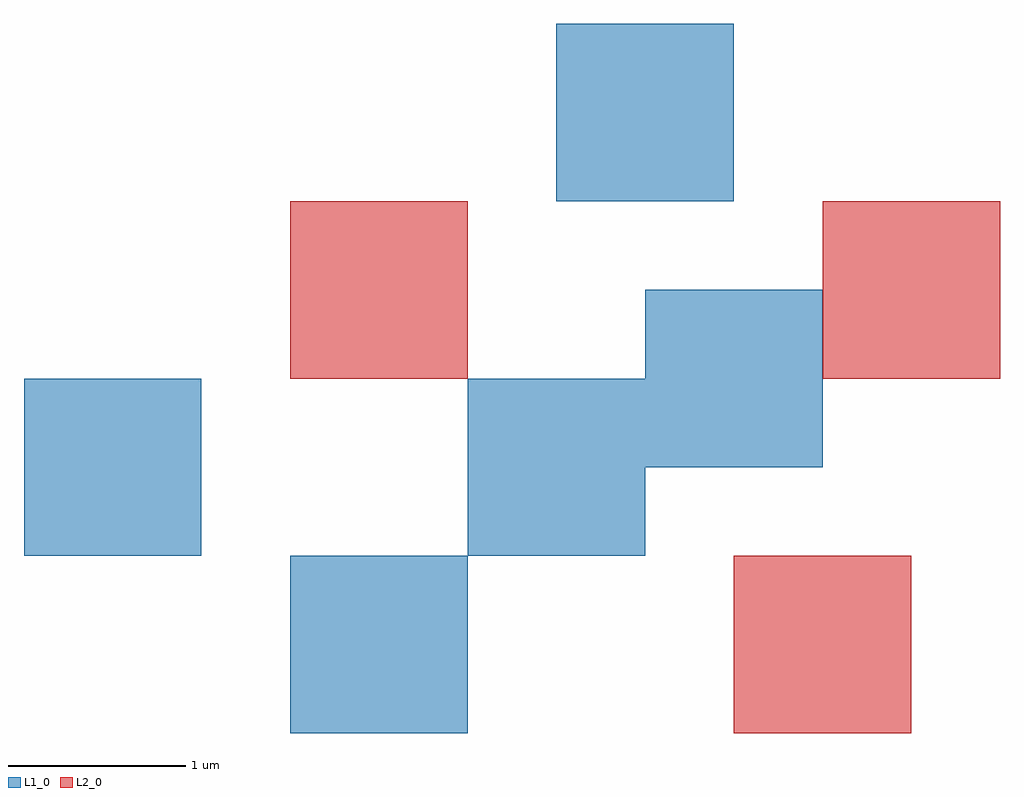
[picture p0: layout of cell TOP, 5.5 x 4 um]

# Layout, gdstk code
import gdstk
lib = gdstk.Library(unit=1e-6, precision=1e-09)
def R(c, l, rs):  # rectangles x0, y0, x1, y1
    for r in rs: c.add(gdstk.rectangle(r[:2], r[2:], *l))
L1_0 = (1, 0)
L2_0 = (2, 0)

top = lib.new_cell('TOP')
R(top, L1_0, [(1.5,-1,2.5,0), (0,0,1,1), (2.5,0,3.5,1), (3.5,0.5,4.5,1.5), (3,2,4,3)])
R(top, L2_0, [(4,-1,5,0), (1.5,1,2.5,2), (4.5,1,5.5,2)])

lib.write_gds('TOP.gds')
